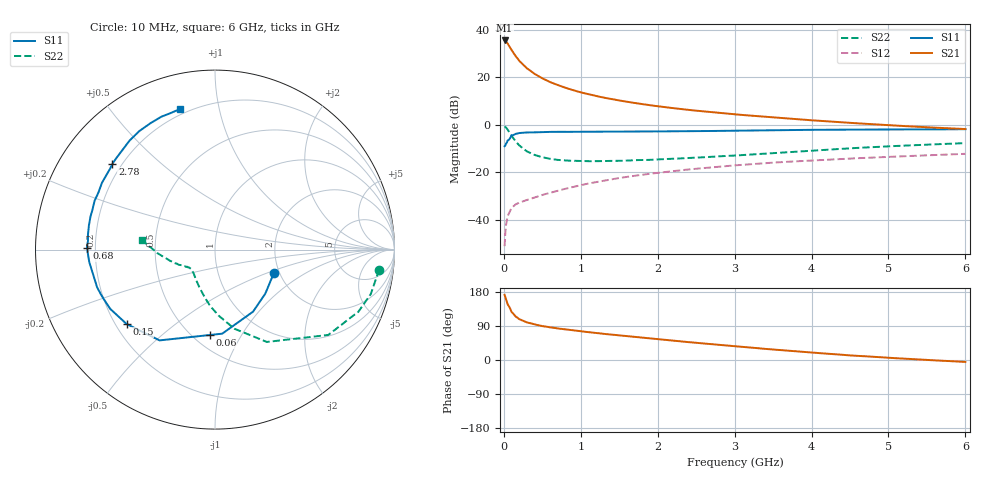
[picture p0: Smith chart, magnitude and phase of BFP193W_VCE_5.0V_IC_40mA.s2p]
! Infineon Technologies  Discrete & RF Semiconductors
! BFP193W
! VCE = 5.0 V,  IC =  40 mA
! Common Emitter S-Parameters:  Jan 2016
# GHz  S  MA  R  50
!  f  S11  S21  S12  S22
! GHz  MAG  ANG  MAG  ANG  MAG  ANG  MAG  ANG
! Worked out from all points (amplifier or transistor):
!   210 points, 10 MHz to 6 GHz, reference 50 ohm
!   highest |S21| = 35.5 dB at 10 MHz (marker M1)
!   |S21| within 3 dB of that: start of sweep to 80.65 MHz
!   unconditionally stable (mu >= 1): 735 MHz to 3.982 GHz
!   at 185 MHz: K = 0.48, MSG = 30.3 dB, |S12| = -33.0 dB
!   at 1.52 GHz: K = 1.11, MAG = 14.2 dB, |S12| = -22.3 dB
!   at 6 GHz: K = 0.94, MSG = 5.2 dB, |S12| = -12.2 dB
!   S11 on the Smith chart (normalised r, x): 10 MHz: 1.88, -0.55; 60 MHz: 0.60, -0.74; 150 MHz: 0.24, -0.35; 680 MHz: 0.17, +0.01; 2.78 GHz: 0.16, +0.35; 6 GHz: 0.17, +0.77
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0.01  0.3531 -21.3  59.37 171.7  0.0028 82.9  0.9212 -7.0
0.02  0.3726 -41.3  58.23 165.4  0.0055 74.0  0.9027 -15.9
0.03  0.4056 -58.5  56.34 158.8  0.008 73.3  0.8708 -23.4
0.05  0.4701 -85.1  50.87 146.9  0.012 63.9  0.79 -37.0
0.06  0.4768 -93.6  47.81 143.8  0.0131 60.2  0.7416 -40.7
0.1  0.5926 -121.4  37.5 126.9  0.0178 50.0  0.5901 -60.7
0.15  0.6437 -139.9  28.23 115.0  0.0211 44.8  0.454 -76.2
0.2  0.6707 -150.5  22.2 107.9  0.0229 44.2  0.3694 -86.7
0.24  0.6784 -156.1  19.06 104.1  0.0243 44.5  0.3264 -92.9
0.3  0.6896 -162.2  15.38 99.2  0.0262 45.1  0.2761 -101.4
0.4  0.6941 -169.3  11.73 93.7  0.0296 48.1  0.2323 -111.2
0.5  0.7038 -174.2  9.476 89.5  0.0334 51.3  0.208 -118.8
0.68  0.7124 179.2  7.068 83.9  0.0402 55.0  0.1847 -128.2
0.8  0.7093 176.1  5.99 80.6  0.0451 56.9  0.1773 -132.4
1.02  0.7134 171.0  4.72 75.5  0.0546 59.0  0.1732 -138.3
1.4  0.7172 163.3  3.472 67.0  0.0715 60.1  0.1746 -144.1
2.02  0.7258 152.2  2.432 54.5  0.0985 58.4  0.1878 -149.4
2.78  0.745 140.1  1.789 40.4  0.1308 53.8  0.2165 -156.8
3.1  0.7529 135.2  1.609 34.7  0.1439 51.6  0.231 -160.5
4.1  0.7844 121.5  1.213 18.2  0.1815 44.2  0.2915 -172.2
5.1  0.7984 111.2  0.96 4.7  0.2148 37.4  0.3584 178.1
6  0.8073 103.9  0.814 -5.1  0.2451 32.0  0.4119 172.5
